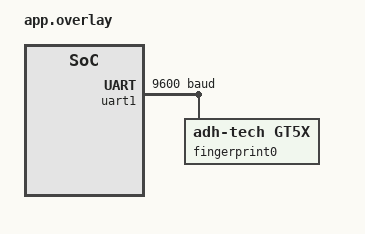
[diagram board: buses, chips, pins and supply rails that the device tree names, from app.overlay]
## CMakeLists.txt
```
# SPDX-License-Identifier: Apache-2.0
cmake_minimum_required(VERSION 3.20.0)
find_package(Zephyr REQUIRED HINTS $ENV{ZEPHYR_BASE})
project(gt5_test3)
target_sources(app PRIVATE src/main.c)
```

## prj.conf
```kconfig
CONFIG_BIOMETRICS=y
CONFIG_SERIAL=y
CONFIG_UART_INTERRUPT_DRIVEN=y
CONFIG_CONSOLE=y
CONFIG_PRINTK=y
CONFIG_SHELL=y
CONFIG_SHELL_BACKEND_SERIAL=y
CONFIG_SHELL_STACK_SIZE=4096
CONFIG_LOG=n
CONFIG_MAIN_STACK_SIZE=2048
CONFIG_HEAP_MEM_POOL_SIZE=4096
CONFIG_SMP=n
CONFIG_PM=n
CONFIG_TIMESLICING=n
CONFIG_BIOMETRICS_GT5X=y
```

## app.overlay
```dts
/* SPDX-License-Identifier: Apache-2.0 */
/ {
    aliases {
        fingerprint = &fingerprint0;
        biometrics = &fingerprint0;
    };
};

&uart1 {
    status = "okay";
    pinctrl-0 = <&uart1_default>;
    pinctrl-names = "default";
	current-speed = <9600>;

    /* UART speed verified in GT5 Test 1. */
    fingerprint0: fingerprint0 {
        compatible = "adh-tech,gt5x";
        status = "okay";
        max-templates = <200>;
        template-size = <498>;
    };
};
```

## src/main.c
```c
/* SPDX-License-Identifier: Apache-2.0
 * BASE GT5 Test 3 v1.0: timer-release scheduling interference, one CPU.
 * Derived from corrected AI10 Test 3 v1.1; retains its failed-receive guard.
 * No biometric samples. No enrollment/deletion. No output during measurement.
 */
#include <zephyr/device.h>
#include <zephyr/drivers/biometrics.h>
#include <zephyr/kernel.h>
#include <zephyr/shell/shell.h>
#include <zephyr/sys/atomic.h>
#include <zephyr/sys/util.h>
#include <errno.h>
#include <stdint.h>
#include <stdlib.h>

#define JOBS 300U
#define PERIOD_MS 10U
#define LOAD_PERIOD_MS 7U
#define BIO_PRIORITY 5
#define LOAD_PRIORITY 4
#define BIO_NODE DT_ALIAS(biometrics)
#if !DT_NODE_EXISTS(BIO_NODE)
#error "Use the GT5 overlay with alias biometrics."
#endif
BUILD_ASSERT(CONFIG_NUM_PREEMPT_PRIORITIES > 8);

enum mode { IDLE, SYNC };
static const char *const mode_names[] = { "idle", "sync" };
static const struct device *const bio = DEVICE_DT_GET(BIO_NODE);
struct release { uint32_t seq, cycles; };
struct sample { uint32_t release, start, finish; };
static struct sample samples[JOBS];
K_MSGQ_DEFINE(releases, sizeof(struct release), JOBS, 4);
K_SEM_DEFINE(jobs_done, 0, 1);
K_SEM_DEFINE(load_request, 0, 1);
K_SEM_DEFINE(load_tick, 0, 1024);
K_SEM_DEFINE(load_done, 0, 1);
K_SEM_DEFINE(bio_request, 0, 1);
K_SEM_DEFINE(bio_entered, 0, 1);
K_SEM_DEFINE(bio_done, 0, 1);
K_MUTEX_DEFINE(runner_lock);
static atomic_t timer_count, dropped, measuring, load_running, bio_running;
static atomic_t processed_jobs, receive_errors;
static atomic_t load_releases, load_executed, bio_error;
static unsigned int bio_started, bio_completed, bio_in_window;
static uint32_t victim_iters, load_iters, clock_hz, victim_cal_us, load_cal_us;
static bool halted;
static unsigned int last_run;

/* Fixed instruction work: preemption does not shorten its iteration count. */
static void work(uint32_t iterations)
{
	volatile uint32_t x = 0x12345678U;
	for (uint32_t i = 0; i < iterations; ++i) {
		x = x * 1664525U + 1013904223U;
	}
}

static uint32_t elapsed_us(uint32_t cycles)
{
	return (uint32_t)((uint64_t)cycles * 1000000U / clock_hz);
}

static uint32_t measure_work(uint32_t iterations)
{
	uint32_t start = k_cycle_get_32();
	work(iterations);
	return k_cycle_get_32() - start;
}

/* Median of five preserves an ordinary-interrupt calibration, without irq_lock. */
static uint32_t median_work(uint32_t iterations)
{
	uint32_t values[5];
	for (unsigned int i = 0; i < ARRAY_SIZE(values); ++i) {
		values[i] = measure_work(iterations);
		for (unsigned int j = i; j > 0 && values[j] < values[j - 1]; --j) {
			uint32_t tmp = values[j];
			values[j] = values[j - 1];
			values[j - 1] = tmp;
		}
	}
	return values[2];
}

static int calibrate(uint32_t target_us, uint32_t *iterations, uint32_t *actual_us)
{
	uint32_t n = 1024U, duration;
	do {
		duration = elapsed_us(median_work(n));
		if (duration >= 100U) { break; }
		n *= 2U;
	} while (n <= 1048576U);
	if (duration == 0U) { return -ERANGE; }
	uint64_t scaled = (uint64_t)n * target_us / duration;
	if (scaled == 0U || scaled > 10000000U) { return -ERANGE; }
	*iterations = (uint32_t)scaled;
	*actual_us = elapsed_us(median_work(*iterations));
	/* Report and reject a grossly unrepresentative calibration. */
	return (*actual_us >= target_us * 8U / 10U &&
		*actual_us <= target_us * 12U / 10U) ? 0 : -ERANGE;
}

static void release_expiry(struct k_timer *timer)
{
	struct release r = { .cycles = k_cycle_get_32() };
	r.seq = (uint32_t)atomic_inc(&timer_count);
	if (r.seq < JOBS && k_msgq_put(&releases, &r, K_NO_WAIT) != 0) {
		atomic_inc(&dropped);
	}
	if (r.seq + 1U >= JOBS) { k_timer_stop(timer); }
}
K_TIMER_DEFINE(release_timer, release_expiry, NULL);

static void load_expiry(struct k_timer *timer)
{
	ARG_UNUSED(timer);
	atomic_inc(&load_releases);
	k_sem_give(&load_tick);
}
K_TIMER_DEFINE(load_timer, load_expiry, NULL);

static void victim_thread(void *a, void *b, void *c)
{
	ARG_UNUSED(a); ARG_UNUSED(b); ARG_UNUSED(c);
	for (;;) {
		struct release r;
		int ret = k_msgq_get(&releases, &r, K_FOREVER);
		/* Purging a queue can wake a blocked receiver without delivering data.
		 * Never inspect r, execute work, or signal completion after a failed get.
		 */
		if (ret != 0) {
			if (ret != -ENOMSG) { atomic_inc(&receive_errors); }
			continue;
		}
		if (r.seq >= JOBS) {
			atomic_inc(&receive_errors);
			continue;
		}
		uint32_t start = k_cycle_get_32();
		work(victim_iters);
		uint32_t finish = k_cycle_get_32();
		samples[r.seq] = (struct sample){ r.cycles, start, finish };
		atomic_inc(&processed_jobs);
		if (r.seq + 1U == JOBS) { k_sem_give(&jobs_done); }
	}
}
K_THREAD_DEFINE(victim_tid, 2048, victim_thread, NULL, NULL, NULL, 2, 0, 0);

static void load_thread(void *a, void *b, void *c)
{
	ARG_UNUSED(a); ARG_UNUSED(b); ARG_UNUSED(c);
	for (;;) {
		k_sem_take(&load_request, K_FOREVER);
		for (;;) {
			k_sem_take(&load_tick, K_FOREVER);
			if (!atomic_get(&load_running)) { break; }
			work(load_iters);
			atomic_inc(&load_executed);
		}
		k_sem_give(&load_done);
	}
}
K_THREAD_DEFINE(load_tid, 2048, load_thread, NULL, NULL, NULL, LOAD_PRIORITY, 0, 0);

static void bio_thread(void *a, void *b, void *c)
{
	ARG_UNUSED(a); ARG_UNUSED(b); ARG_UNUSED(c);
	for (;;) {
		k_sem_take(&bio_request, K_FOREVER);
		bool first = true;
		while (atomic_get(&bio_running)) {
			int ret;
			bio_started++;
			if (first) { k_sem_give(&bio_entered); first = false; }
			struct biometric_match_result result;
			ret = biometric_match(bio, BIOMETRIC_MATCH_IDENTIFY, 0,
					      K_SECONDS(1), &result);
			if (ret == -ETIMEDOUT) { ret = 0; }
			else if (ret == 0) { ret = -EPROTO; }
			if (ret != 0) { atomic_set(&bio_error, ret); }
			if (atomic_get(&bio_error)) { break; }
			bio_completed++;
			if (atomic_get(&measuring)) { bio_in_window++; }
		}
		k_sem_give(&bio_done);
	}
}
K_THREAD_DEFINE(bio_tid, 3072, bio_thread, NULL, NULL, NULL, BIO_PRIORITY, 0, 0);

static void meta(const struct shell *sh, unsigned int run, unsigned int cell,
		 const char *name, int64_t a, int64_t b)
{
	shell_print(sh, "G3,M,%u,%u,%s,%lld,%lld", run, cell, name,
		    (long long)a, (long long)b);
}

static void verdict(const struct shell *sh, unsigned int run, unsigned int cell,
		    const char *name, bool ok, int rc)
{
	shell_print(sh, "G3,V,%u,%u,%s,%s,%d", run, cell, name, ok ? "PASS" : "FAIL", rc);
}

static int do_cell(const struct shell *sh, unsigned int run, unsigned int cell,
		   enum mode mode, int priority, unsigned int load)
{
	meta(sh, run, cell, "condition", mode, priority);
	meta(sh, run, cell, "load_percent", load, LOAD_PRIORITY);
	shell_print(sh, "Cell %u: %s, task priority %d, offered load %u%%. Keep samples away; wait.",
		    cell, mode_names[mode], priority, load);
	/* Let preceding shell output drain before starting either workload. */
	k_sleep(K_MSEC(300));
	atomic_clear(&timer_count); atomic_clear(&dropped);
	atomic_clear(&processed_jobs); atomic_clear(&receive_errors);
	atomic_clear(&load_releases); atomic_clear(&load_executed);
	atomic_clear(&bio_error);
	k_sem_reset(&jobs_done); k_sem_reset(&load_tick); k_sem_reset(&load_done);
	k_sem_reset(&bio_done); k_sem_reset(&bio_entered);
	/* No purge: the prior successful window consumed every queued release.
	 * A purge would unnecessarily wake the receiver waiting for the next job.
	 */
	bio_started = 0; bio_completed = 0; bio_in_window = 0;
	k_thread_priority_set(victim_tid, priority);
	if (mode != IDLE) {
		atomic_set(&bio_running, 1);
		k_sem_give(&bio_request);
		if (k_sem_take(&bio_entered, K_SECONDS(2)) != 0) { return -ETIMEDOUT; }
	}
	k_sleep(K_MSEC(200));
	if (load) {
		atomic_set(&load_running, 1);
		k_sem_give(&load_request);
		k_timer_start(&load_timer, K_MSEC(LOAD_PERIOD_MS), K_MSEC(LOAD_PERIOD_MS));
	}
	atomic_set(&measuring, 1);
	uint32_t window_start = k_cycle_get_32();
	k_timer_start(&release_timer, K_MSEC(PERIOD_MS), K_MSEC(PERIOD_MS));
	int ret = k_sem_take(&jobs_done, K_SECONDS(8));
	uint32_t window_cycles = k_cycle_get_32() - window_start;
	atomic_clear(&measuring);
	k_timer_stop(&release_timer);
	k_timer_stop(&load_timer);
	atomic_clear(&load_running);
	atomic_clear(&bio_running);
	/* Drain workers before touching their data or starting another condition. */
	if (load) {
		k_sem_give(&load_tick);
		if (k_sem_take(&load_done, K_SECONDS(2)) != 0) { return -ETIMEDOUT; }
	}
	if (mode != IDLE && k_sem_take(&bio_done, K_SECONDS(14)) != 0) {
		return -ETIMEDOUT;
	}
	if (ret != 0) { return ret; } /* Never read records from a still-running victim. */
	meta(sh, run, cell, "window_cycles", window_cycles, clock_hz);
	meta(sh, run, cell, "job_counts", atomic_get(&timer_count), atomic_get(&dropped));
	meta(sh, run, cell, "processed_jobs", atomic_get(&processed_jobs), atomic_get(&receive_errors));
	meta(sh, run, cell, "background_counts", atomic_get(&load_releases), atomic_get(&load_executed));
	meta(sh, run, cell, "bio_counts", bio_started, bio_completed);
	meta(sh, run, cell, "bio_window_completed", bio_in_window, atomic_get(&bio_error));
	if (atomic_get(&timer_count) != JOBS || atomic_get(&processed_jobs) != JOBS ||
	    atomic_get(&dropped) != 0 || atomic_get(&receive_errors) != 0) {
		/* Do not publish stale/partial sample slots as a complete new window. */
		return -EIO;
	}
	for (unsigned int i = 0; i < JOBS; ++i) {
		/* Unsigned 32-bit cycles; parser unwraps within the bounded window. */
		shell_print(sh, "G3,J,%u,%u,%u,%u,%u,%u", run, cell, i,
			    samples[i].release, samples[i].start, samples[i].finish);
	}
	bool ok = atomic_get(&timer_count) == JOBS && atomic_get(&dropped) == 0 &&
		atomic_get(&bio_error) == 0 &&
		(mode == IDLE || (bio_started == bio_completed && bio_in_window > 0U));
	return ok ? 0 : -EIO;
}

static int cmd_info(const struct shell *sh, size_t argc, char **argv)
{
	ARG_UNUSED(argc); ARG_UNUSED(argv);
	struct biometric_capabilities caps = {0};
	if (!device_is_ready(bio)) { return -ENODEV; }
	int ret = biometric_get_capabilities(bio, &caps);
	if (ret) { return ret; }
	shell_print(sh, "BASE GT5 T3 v1.0; device %s; no samples; no database changes.", bio->name);
	meta(sh, 0, 0, "caps", caps.supported_modalities, caps.async_operations);
	meta(sh, 0, 0, "clock", sys_clock_hw_cycles_per_sec(), CONFIG_SYS_CLOCK_TICKS_PER_SEC);
	meta(sh, 0, 0, "priorities", BIO_PRIORITY, LOAD_PRIORITY);
	meta(sh, 0, 0, "jobs_period_ms", JOBS, PERIOD_MS);
	return 0;
}

static int cmd_run(const struct shell *sh, size_t argc, char **argv)
{
	ARG_UNUSED(argc);
	char *end;
	errno = 0;
	unsigned long parsed = strtoul(argv[1], &end, 10);
	if (errno || *argv[1] < '0' || *argv[1] > '9' || *end != '\0' ||
	    parsed == 0 || parsed > 1000000UL || parsed <= last_run) {
		return -EINVAL;
	}
	unsigned int run = (unsigned int)parsed;
	if (k_mutex_lock(&runner_lock, K_NO_WAIT) != 0) { return -EBUSY; }
	last_run = run;
	int ret = halted ? -EBUSY : 0;
	struct biometric_capabilities caps = {0};
	if (!ret && !device_is_ready(bio)) { ret = -ENODEV; }
	if (!ret) { ret = biometric_get_capabilities(bio, &caps); }
	if (!ret && (caps.supported_modalities != BIOMETRIC_MODALITY_FINGERPRINT ||
		     caps.async_operations != 0)) { ret = -ENOTSUP; }
	clock_hz = sys_clock_hw_cycles_per_sec();
	/* Every recorded window must be shorter than one 32-bit counter revolution. */
	if (!ret && (clock_hz == 0U || (uint64_t)clock_hz * 10U >= UINT32_MAX)) {
		ret = -ERANGE;
	}
	if (!ret) { ret = calibrate(200U, &victim_iters, &victim_cal_us); }
	if (!ret) { ret = calibrate(3500U, &load_iters, &load_cal_us); }
	meta(sh, run, 0, "version", 1, 0);
	meta(sh, run, 0, "caps", caps.supported_modalities, caps.async_operations);
	meta(sh, run, 0, "clock", clock_hz, CONFIG_SYS_CLOCK_TICKS_PER_SEC);
	meta(sh, run, 0, "period_ticks", k_ms_to_ticks_ceil32(PERIOD_MS),
	     k_ms_to_ticks_ceil32(LOAD_PERIOD_MS));
	meta(sh, run, 0, "jobs_period_ms", JOBS, PERIOD_MS);
	meta(sh, run, 0, "victim_calibration", victim_iters, victim_cal_us);
	meta(sh, run, 0, "load_calibration", load_iters, load_cal_us);
	meta(sh, run, 0, "priorities", BIO_PRIORITY, LOAD_PRIORITY);
	verdict(sh, run, 0, "setup", ret == 0, ret);
	if (ret == 0) {
		unsigned int cell = 0;
		for (unsigned int group = 0; group < 4 && ret == 0; ++group) {
			int priority = group < 2 ? 2 : 8;
			unsigned int load = group % 2U ? 50 : 0;
			for (unsigned int m = 0; m < 2 && ret == 0; ++m) {
				enum mode mode = (enum mode)((m + run - 1U + group) % 2U);
				ret = do_cell(sh, run, ++cell, mode, priority, load);
				verdict(sh, run, cell, "cell", ret == 0, ret);
			}
		}
	}
	if (ret) {
		halted = true;
		atomic_clear(&measuring); atomic_clear(&bio_running); atomic_clear(&load_running);
		k_timer_stop(&release_timer); k_timer_stop(&load_timer);
		shell_error(sh, "Halted: retain this log and inspect before reset. No further trials.");
	}
	verdict(sh, run, 0, "suite", ret == 0, ret);
	k_mutex_unlock(&runner_lock);
	return ret;
}

SHELL_STATIC_SUBCMD_SET_CREATE(t3_commands,
	SHELL_CMD_ARG(info, NULL, "Show configuration.", cmd_info, 1, 0),
	SHELL_CMD_ARG(run, NULL, "Run all 8 conditions: t3 run <positive-run-id>.", cmd_run, 2, 0),
	SHELL_SUBCMD_SET_END);
SHELL_CMD_REGISTER(t3, &t3_commands, "GT5 scheduling evaluation", NULL);

int main(void)
{
	return 0;
}
```
